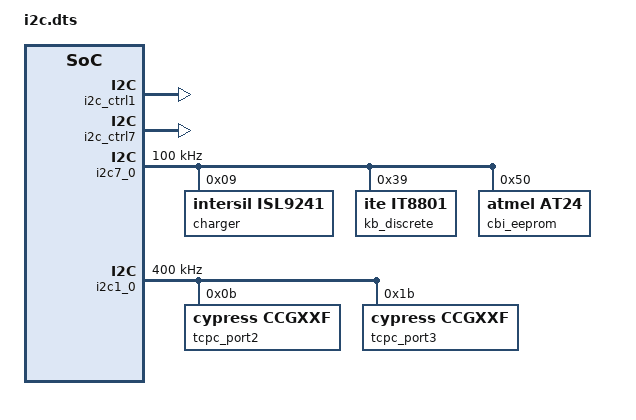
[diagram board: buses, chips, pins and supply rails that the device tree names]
/* Copyright 2022 The ChromiumOS Authors
 * Use of this source code is governed by a BSD-style license that can be
 * found in the LICENSE file.
 */

/ {
	named-i2c-ports {
		compatible = "named-i2c-ports";

		i2c_charger: charger {
			i2c-port = <&i2c7_0>;
			enum-names = "I2C_PORT_CHARGER",
				"I2C_PORT_BATTERY",
				"I2C_PORT_EEPROM",
				"I2C_PORT_KB_DISCRETE";
		};
		typec_aic2: typec-aic2 {
			i2c-port = <&i2c1_0>;
			enum-names = "I2C_PORT_TYPEC_AIC_2";
		};
	};
};

&i2c_ctrl1 {
	status = "okay";
};

&i2c_ctrl7 {
	status = "okay";
};

/* charger */
&i2c7_0 {
	label = "I2C_CHARGER";
	status = "okay";
	clock-frequency = <I2C_BITRATE_STANDARD>;
	pinctrl-0 = <&i2c7_0_sda_scl_gpb2_b3>;
	pinctrl-names = "default";

	charger: isl9241@9 {
		compatible = "intersil,isl9241";
		status = "okay";
		reg = <0x9>;
	};

	kb_discrete: ite-it8801@39 {
		compatible = "ite,it8801";
		reg = <0x39>;
	};

	cbi_eeprom: eeprom@50 {
		compatible = "atmel,at24";
		reg = <0x50>;
		size = <2048>;
		pagesize = <16>;
		address-width = <8>;
		timeout = <5>;
	};
};

/* typec_aic2 */
&i2c1_0 {
	label = "I2C_USB_C2_C3_TCPC";
	status = "okay";
	clock-frequency = <I2C_BITRATE_FAST>;
	pinctrl-0 = <&i2c1_0_sda_scl_gp87_90>;
	pinctrl-names = "default";

	tcpc_port2: ccgxxf@b {
		compatible = "cypress,ccgxxf";
		reg = <0xb>;
	};

	tcpc_port3: ccgxxf@1b {
		compatible = "cypress,ccgxxf";
		reg = <0x1b>;
	};
};
